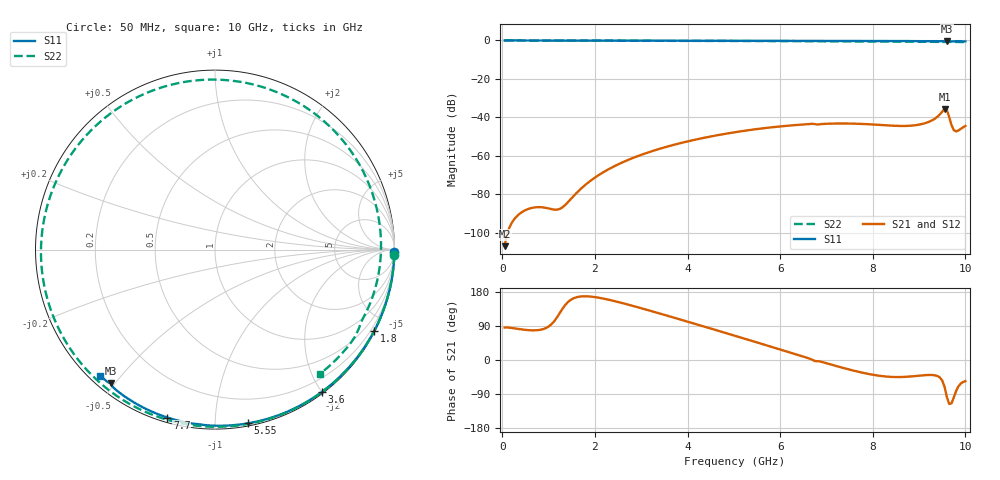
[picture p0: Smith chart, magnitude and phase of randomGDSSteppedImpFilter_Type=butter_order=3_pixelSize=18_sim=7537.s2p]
! freq	dB(S11)	phase(S11)	dB(S12)	phase(S12)
!  dB(S21)	phase(S21)	dB(S22)	phase(S22)
!S-par simulation data
#  GHz  S  DB  R 50
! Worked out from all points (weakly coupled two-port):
!   200 points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, 50 MHz to 10 GHz, reference 50 ohm
!   highest |S21| = -35.60 dB at 9.55 GHz (marker M1); lowest = -107.0 dB at 50 MHz (marker M2)
!   lowest |S11| = -0.5 dB at 9.6 GHz (marker M3), VSWR 33.67, Z = 1.84 - j24.4 ohm
!   |S11| at or under -10 dB: nowhere
!   |S22| runs from -0.9 to 0.0 dB; largest |S21 - S12| = 0
!   S11 on the Smith chart (normalised r, x): 50 MHz: open; 1.8 GHz: 0.04, -4.14; 3.6 GHz: 0.02, -2.00; 5.55 GHz: 0.02, -1.21; 7.7 GHz: 0.02, -0.76; 10 GHz: 0.03, -0.44
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0.05  -0.00 -0.8  -106.98 85.6  -106.98 85.6  -0.01 -1.9
0.75  -0.01 -11.4  -86.70 78.6  -86.70 78.6  -0.03 -27.4
1.55  -0.03 -23.4  -80.62 163.4  -80.62 163.4  -0.07 -55.7
1.75  -0.03 -26.4  -75.98 168.1  -75.98 168.1  -0.08 -62.7
1.8  -0.03 -27.1  -74.96 168.2  -74.96 168.2  -0.08 -64.4
2.45  -0.05 -36.7  -65.03 154.6  -65.03 154.6  -0.11 -86.4
3.4  -0.07 -50.2  -56.32 122.7  -56.32 122.7  -0.15 -117.6
3.6  -0.07 -53.0  -54.94 115.6  -54.94 115.6  -0.16 -124.1
4.35  -0.09 -63.4  -50.66 88.6  -50.66 88.6  -0.20 -148.6
5.05  -0.11 -72.7  -47.62 63.0  -47.62 63.0  -0.25 -172.3
5.55  -0.13 -79.2  -45.92 44.5  -45.92 44.5  -0.29 169.8
6.15  -0.15 -86.9  -44.36 22.1  -44.36 22.1  -0.35 146.6
6.7  -0.19 -93.8  -43.35 0.3  -43.35 0.3  -0.40 123.2
7.25  -0.21 -100.4  -43.18 -17.2  -43.18 -17.2  -0.46 97.3
7.7  -0.24 -105.8  -43.34 -31.4  -43.34 -31.4  -0.50 74.3
8.35  -0.29 -113.5  -44.22 -44.3  -44.22 -44.3  -0.57 38.9
9.1  -0.36 -122.3  -43.22 -40.2  -43.22 -40.2  -0.69 -2.8
9.35  -0.39 -125.2  -40.53 -40.6  -40.53 -40.6  -0.75 -16.3
9.55  -0.48 -127.7  -35.60 -70.8  -35.60 -70.8  -0.83 -26.3
9.6  -0.52 -127.9  -36.17 -97.7  -36.17 -97.7  -0.78 -28.6
9.75  -0.45 -129.3  -46.63 -98.9  -46.63 -98.9  -0.76 -37.0
10  -0.46 -132.3  -44.44 -55.7  -44.44 -55.7  -0.86 -49.7
